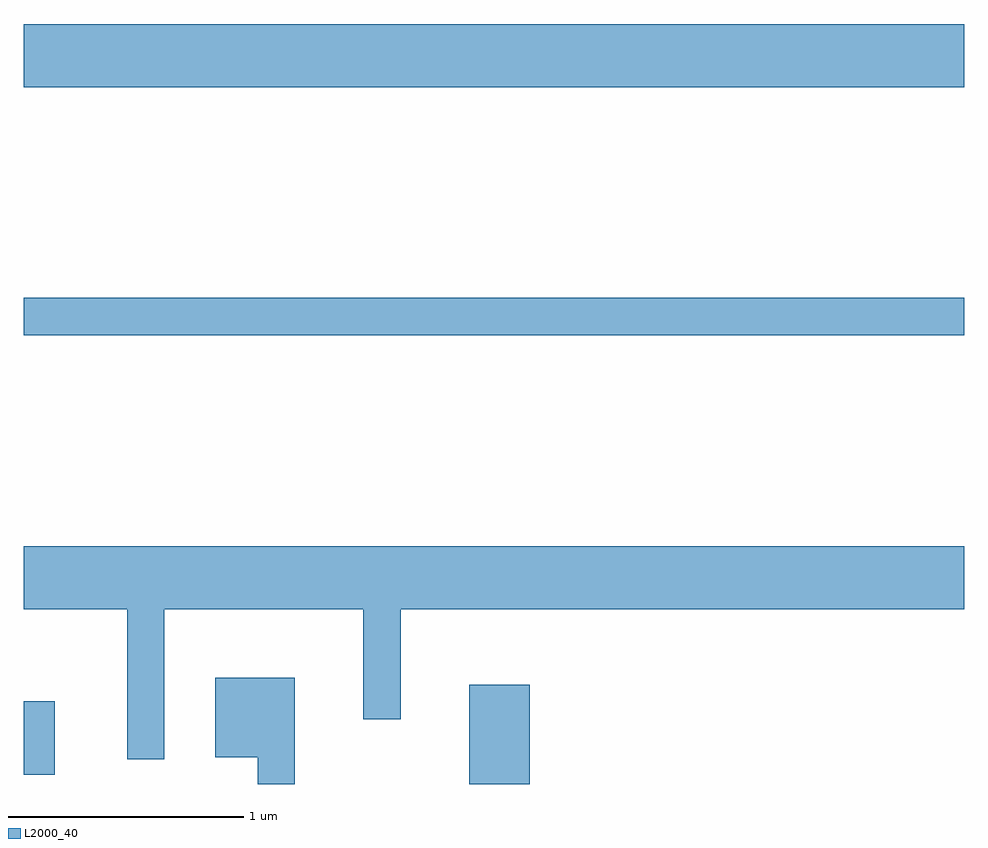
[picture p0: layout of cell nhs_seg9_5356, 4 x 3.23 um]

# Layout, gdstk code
import gdstk
lib = gdstk.Library(unit=1e-6, precision=1e-09)
def R(c, l, rs):  # rectangles x0, y0, x1, y1
    for r in rs: c.add(gdstk.rectangle(r[:2], r[2:], *l))
def P(c, l, *ps):  # polygons
    for p in ps: c.add(gdstk.Polygon(p, *l))
L2000_40 = (2000, 40)

nhs_seg9_5356 = lib.new_cell('nhs_seg9_5356')
R(nhs_seg9_5356, L2000_40, [(345.506,1964.432,345.764,1964.854), (343.611,1964.471,343.744,1964.783), (343.611,1966.341,347.611,1966.499), (343.611,1967.396,347.611,1967.664)])
P(nhs_seg9_5356, L2000_40, [(344.209,1965.176),(345.056,1965.176),(345.056,1964.708),(345.214,1964.708),(345.214,1965.176),(347.611,1965.176),(347.611,1965.444),(343.611,1965.444),(343.611,1965.176),(344.051,1965.176),(344.051,1964.538),(344.209,1964.538)],
  [(344.764,1964.884),(344.426,1964.884),(344.426,1964.546),(344.606,1964.546),(344.606,1964.432),(344.764,1964.432)])

lib.write_gds('nhs_seg9_5356.gds')
